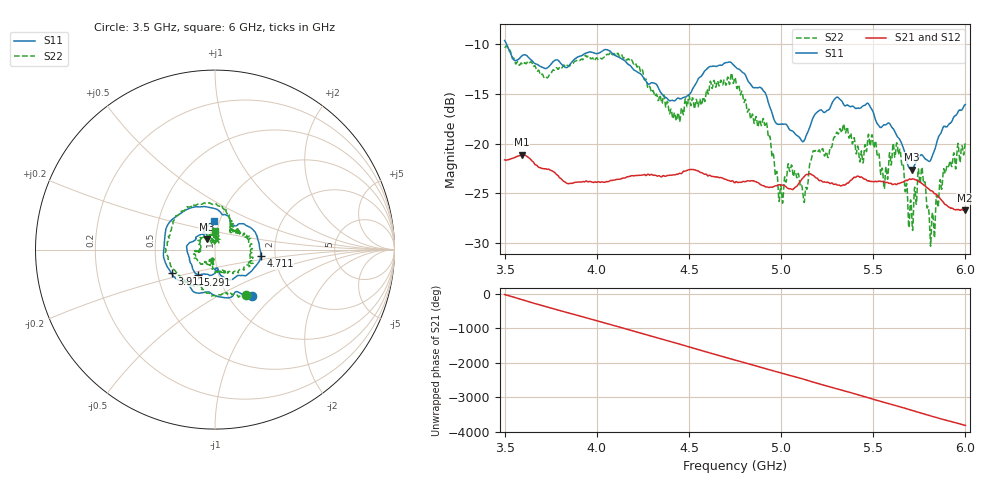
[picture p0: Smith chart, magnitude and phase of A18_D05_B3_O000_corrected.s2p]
! Created with skrf 1.9.0 (http://scikit-rf.org).
# Hz S RI R 50.0
!freq ReS11 ImS11 ReS21 ImS21 ReS12 ImS12 ReS22 ImS22
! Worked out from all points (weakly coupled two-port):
!   1601 points, 3.5 GHz to 6 GHz, reference 50 ohm
!   highest |S21| = -21.11 dB at 3.592 GHz (marker M1); lowest = -26.7 dB at 5.995 GHz (marker M2)
!   lowest |S11| = -22.6 dB at 5.709 GHz (marker M3), VSWR 1.16, Z = 45.2 + j5.2 ohm
!   |S11| at or under -10 dB: 3.511 GHz to end of sweep
!   |S22| runs from -30.3 to -10.1 dB; largest |S21 - S12| = 0.00091
!   S11 on the Smith chart (normalised r, x): 3.5 GHz: 1.27, -0.74; 3.911 GHz: 0.59, -0.17; 4.711 GHz: 1.67, -0.13; 5.291 GHz: 0.80, -0.23; 6 GHz: 0.94, +0.30
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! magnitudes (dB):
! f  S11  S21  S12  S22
! 3.5 GHz  -9.6  -21.6  -21.6  -10.3
! 3.592 GHz  -11.2  -21.1  -21.1  -11.9
! 3.911 GHz  -11.2  -23.9  -23.8  -11.6
! 3.917 GHz  -11.2  -23.9  -23.9  -11.5
! 4.334 GHz  -14.4  -23.2  -23.2  -15.7
! 4.441 GHz  -15.4  -23.1  -23.0  -16.9
! 4.711 GHz  -11.8  -23.7  -23.7  -13.3
! 4.75 GHz  -12.2  -23.9  -23.9  -13.3
! 4.914 GHz  -14.9  -24.3  -24.3  -18.1
! 4.998 GHz  -18.0  -24.1  -24.1  -24.2
! 5.048 GHz  -18.6  -24.5  -24.6  -22.8
! 5.13 GHz  -19.5  -23.2  -23.2  -25.1
! 5.167 GHz  -17.7  -23.1  -23.1  -21.3
! 5.291 GHz  -15.5  -24.1  -24.1  -19.3
! 5.584 GHz  -17.9  -24.0  -24.0  -21.7
! 5.638 GHz  -19.4  -24.0  -24.0  -21.1
! 5.709 GHz  -22.6  -23.6  -23.5  -27.5
! 5.756 GHz  -21.2  -23.9  -23.9  -23.8
! 5.82 GHz  -21.2  -24.8  -24.7  -27.0
! 5.891 GHz  -18.3  -26.1  -26.1  -23.0
! 5.995 GHz  -16.1  -26.7  -26.6  -20.5
! 6 GHz  -16.1  -26.7  -26.7  -19.9
